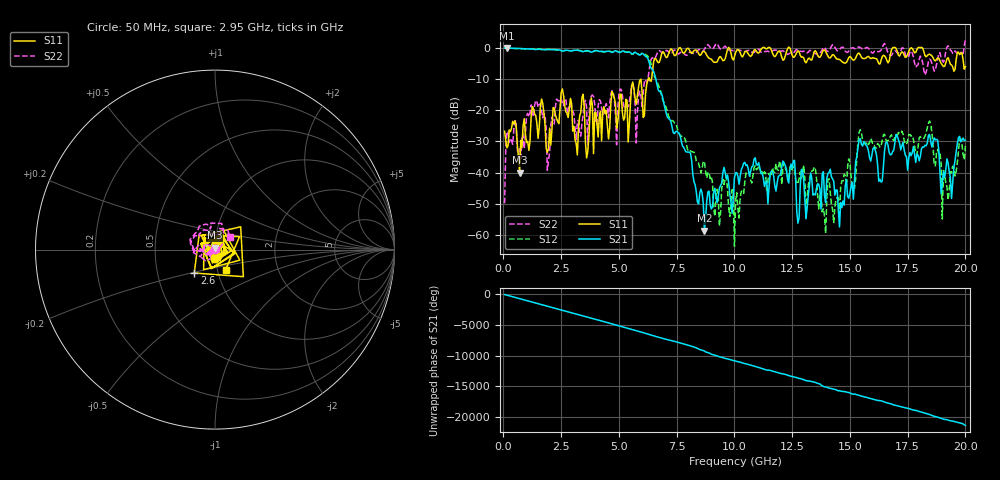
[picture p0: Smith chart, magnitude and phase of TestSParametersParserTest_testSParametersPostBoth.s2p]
! File created by SignalIntegrity v1.1.17: Signal and Power Integrity Tools
! https://github.com/TeledyneLeCroy/SignalIntegrity
# MHz S MA R 50.0
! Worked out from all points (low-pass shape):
!   400 points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, 50 MHz to 20 GHz, reference 50 ohm
!   highest |S21| = -0.17 dB at 150 MHz (marker M1); lowest = -58.5 dB at 8.7 GHz (marker M2)
!   |S21| within 3 dB of the highest: start of sweep to 6.22 GHz
!   lowest |S11| = -39.9 dB at 700 MHz (marker M3), VSWR 1.02, Z = 49.8 + j0.99 ohm
!   |S11| at or under -10 dB: start of sweep to 6.273 GHz; 6.318 GHz to 6.412 GHz (93.98 MHz wide, 1.48 % of centre)
!   |S22| runs from -49.8 to 2.3 dB; largest |S21 - S12| = 0.11
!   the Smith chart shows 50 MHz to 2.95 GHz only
!   S11 on the Smith chart (normalised r, x): 50 MHz: 1.00, -0.09; 2.6 GHz: 0.77, -0.21; 2.95 GHz: 1.09, -0.25
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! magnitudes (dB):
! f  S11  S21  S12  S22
! 50 MHz  -26.7  -0.2  -0.2  -49.8
! 150 MHz  -32.1  -0.2  -0.2  -26.8
! 700 MHz  -39.9  -0.3  -0.4  -32.4
! 2.6 GHz  -15.2  -1.1  -1.0  -18.5
! 2.95 GHz  -17.8  -1.1  -1.0  -19.4
! 3.2 GHz  -34.3  -0.9  -0.9  -23.6
! 3.4 GHz  -15.9  -1.3  -1.1  -24.0
! 3.6 GHz  -35.2  -1.0  -1.1  -19.3
! 3.8 GHz  -16.1  -1.5  -1.3  -15.6
! 3.9 GHz  -33.9  -1.2  -1.2  -15.6
! 5.4 GHz  -30.1  -1.5  -1.5  -18.9
! 5.6 GHz  -11.0  -2.1  -2.1  -12.1
! 5.75 GHz  -18.1  -1.8  -1.8  -30.5
! 6.7 GHz  -4.9  -13.5  -11.8  -1.2
! 8.7 GHz  -1.3  -58.5  -36.4  -0.5
! 10.05 GHz  -1.6  -40.0  -48.9  -1.0
! 13.35 GHz  -4.0  -41.8  -39.4  -1.2
! 13.95 GHz  -1.3  -49.5  -59.3  -0.5
! 16.7 GHz  -4.3  -33.5  -29.4  -2.2
! 18.45 GHz  -2.1  -27.7  -23.4  -3.7
! 19 GHz  -5.6  -43.5  -54.8  -4.2
! 20 GHz  -6.1  -29.6  -31.5  2.3
